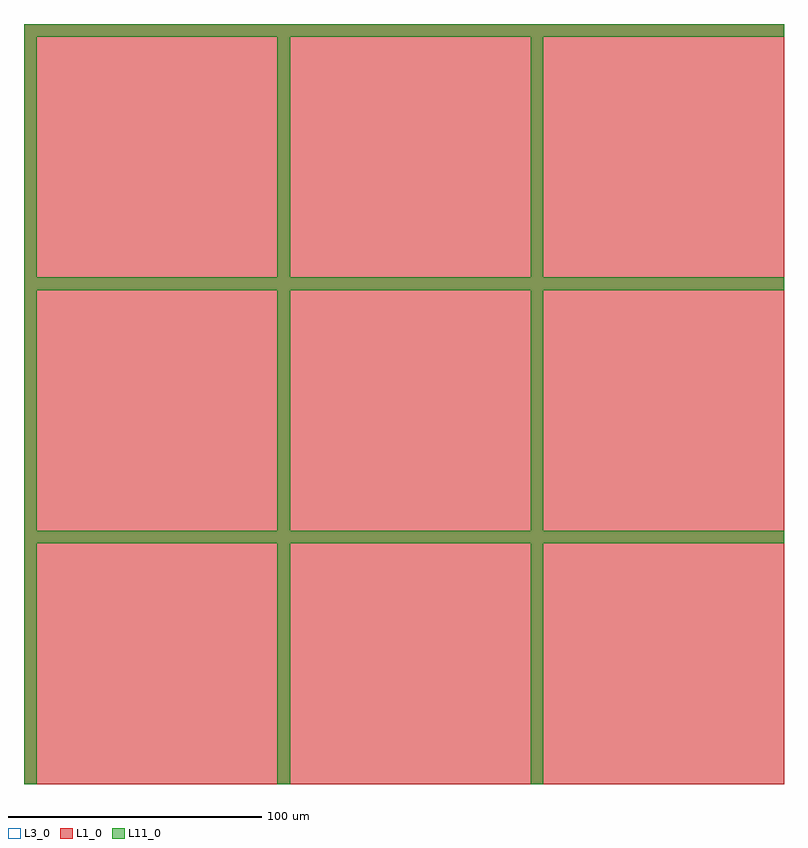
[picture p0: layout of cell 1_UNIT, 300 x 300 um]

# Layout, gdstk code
import gdstk
lib = gdstk.Library(unit=1e-6, precision=1e-09)
def R(c, l, rs):  # rectangles x0, y0, x1, y1
    for r in rs: c.add(gdstk.rectangle(r[:2], r[2:], *l))
L1_0 = (1, 0)
L3_0 = (3, 0)
L11_0 = (11, 0)

c_0_unit = lib.new_cell('0_UNIT')
R(c_0_unit, L1_0, [(0,0,100,100)])
R(c_0_unit, L11_0, [(0,0,5,100), (0,95,100,100)])

c_1_unit = lib.new_cell('1_UNIT')
R(c_1_unit, L3_0, [(0,0,300,300)])
r = gdstk.Reference(c_0_unit, (0,0)); r.repetition = gdstk.Repetition(3, 3, v1=(100,0), v2=(0,100)); c_1_unit.add(r)

lib.write_gds('1_UNIT.gds')
